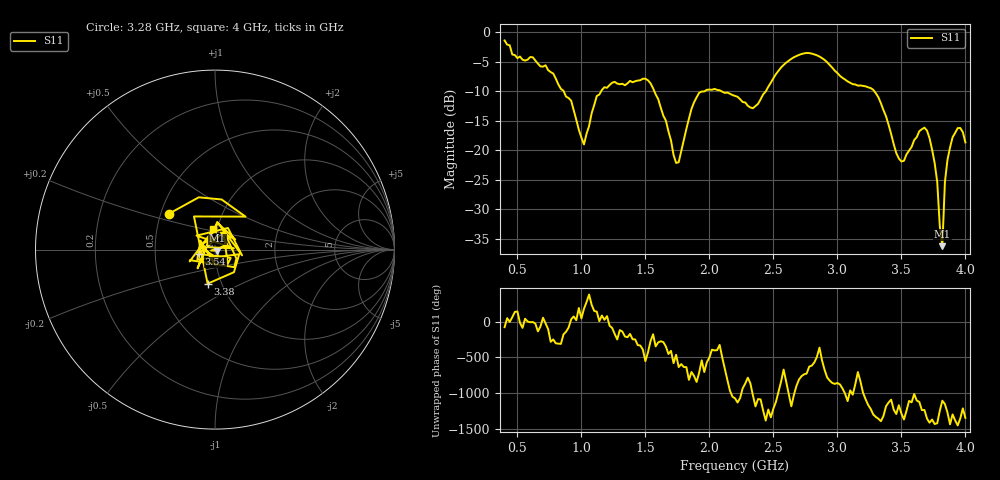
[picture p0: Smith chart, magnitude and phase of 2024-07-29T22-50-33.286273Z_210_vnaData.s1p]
!Created with skrf (http://scikit-rf.org).
# Hz S RI R 50.0
!freq ReS11 ImS11
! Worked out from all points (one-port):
!   181 points, 400 MHz to 4 GHz, reference 50 ohm
!   lowest |S11| = -36.2 dB at 3.82 GHz (marker M1), VSWR 1.03, Z = 51.4 - j0.679 ohm
!   |S11| at or under -10 dB: 1.57 GHz to 1.962 GHz (391.8 MHz wide, 22.2 % of centre); 2.095 GHz to 2.441 GHz (346.1 MHz wide, 15.3 % of centre); 3.289 GHz to end of sweep (the widest 3 of 4)
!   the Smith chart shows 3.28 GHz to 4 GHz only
!   S11 on the Smith chart (normalised r, x): 3.28 GHz: 0.55, +0.25; 3.38 GHz: 0.86, -0.34; 3.54 GHz: 0.84, -0.04; 4 GHz: 0.96, +0.23
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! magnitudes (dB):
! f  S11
! 400 MHz  -1.4
! 720 MHz  -5.6
! 860 MHz  -9.9
! 920 MHz  -11.6
! 1.02 GHz  -19.0
! 1.12 GHz  -10.8
! 1.3 GHz  -8.8
! 1.54 GHz  -8.6
! 1.76 GHz  -22.0
! 1.92 GHz  -10.3
! 2.2 GHz  -10.8
! 2.34 GHz  -12.9
! 2.66 GHz  -4.2
! 2.84 GHz  -3.9
! 3.1 GHz  -8.6
! 3.28 GHz  -9.7
! 3.38 GHz  -14.2
! 3.48 GHz  -21.4
! 3.54 GHz  -20.7
! 3.56 GHz  -20.1
! 3.7 GHz  -16.7
! 3.78 GHz  -25.4
! 3.8 GHz  -32.8
! 3.82 GHz  -36.2
! 3.84 GHz  -25.4
! 3.88 GHz  -19.5
! 3.94 GHz  -16.2
! 4 GHz  -18.7
